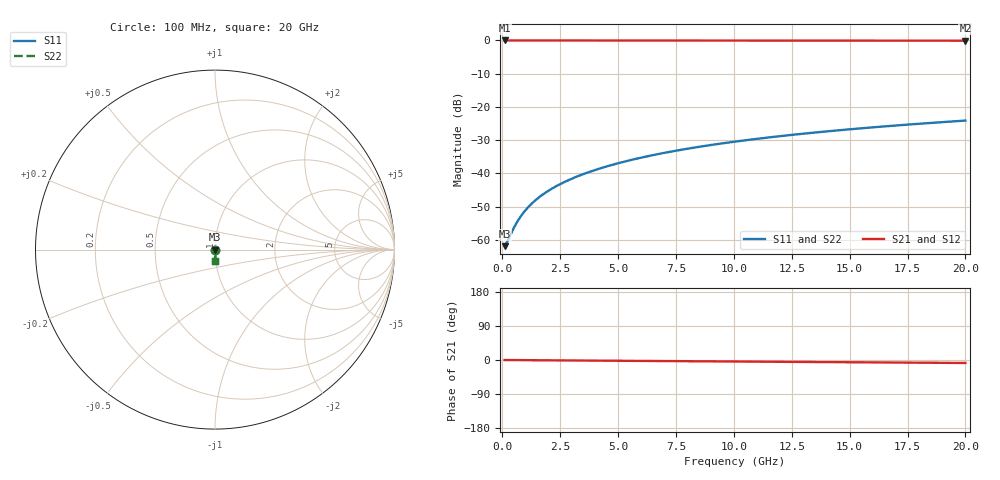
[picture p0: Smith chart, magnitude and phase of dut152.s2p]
! Touchstone file exported from HFSS 2026.1.0
!  File:  C:/ffzhzh/LocalFiles/Ansys_Project_Files/temp_train_BSMRDL_152_1782986616_6248.aedt
!  Generated:  06:04:40 PM Jul  2, 2026
!  Design:  BSMRDL
!  Project:  temp_train_BSMRDL_152_1782986616_6248
! Variables:
!  h_bsmrdl = 4.72um
!  h_ox = 20um
!  h_rdl = 5um
!  h_sub = 80um
!  h_tmrdl = 5um
!  h_tsv = 80um
!  h_via = 3um
!  l_bsmrdl = 118.7um
!  l_sub = 518.7um
!  l_tmrdl = 200um
!  m_sub = 200um
!  pitch = 15.16um
!  r_tsv = 6um
!  s_tmrdl = 10um
!  w_bsmrdl = 13.82um
!  w_sub = 500um
!  w_tmrdl = 12um
!  x_tsv_center1 = 206um
!  x_tsv_center2 = 338.52um
!  x_tsv_center3 = 550.52um
!  x_tsv_center4 = 683.04um
!  x_tsv_center5 = 895.04um
!  x_tsv_center6 = 1027.56um
# GHz S MA R 50.000000
! Terminal data exported
! Port[1] = BSM_RDL1_1_T1
! Port[2] = BSM_RDL1_1_T2
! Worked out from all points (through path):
!   200 points, 100 MHz to 20 GHz, reference 50 ohm
!   highest |S21| = -0.01 dB at 100 MHz (marker M1); lowest = -0.1 dB at 20 GHz (marker M2)
!   group delay of S21, straight-line fit = 1.08 ps
!   lowest |S11| = -61.8 dB at 100 MHz (marker M3), VSWR 1.00, Z = 50.1 - j0.0125 ohm
!   |S11| at or under -10 dB: start of sweep to end of sweep
!   |S22| runs from -61.8 to -24.1 dB; largest |S21 - S12| = 5.1e-15
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0.1  0.0008084 -8.9  0.9992 -0.1  0.9992 -0.1  0.0008084 -8.9
! Gamma 0 0 0 0
! Port Impedance 50 0 50 0
0.2  0.0009229 -17.9  0.9991 -0.1  0.9991 -0.1  0.0009229 -17.9
0.5  0.001525 -40.7  0.9988 -0.2  0.9988 -0.2  0.001525 -40.7
0.7  0.002018 -50.7  0.9987 -0.3  0.9987 -0.3  0.002018 -50.7
0.8  0.002275 -54.4  0.9987 -0.4  0.9987 -0.4  0.002275 -54.4
1  0.0028 -60.2  0.9986 -0.4  0.9986 -0.4  0.0028 -60.2
1.3  0.003605 -66.0  0.9985 -0.6  0.9985 -0.6  0.003605 -66.0
1.5  0.004148 -68.7  0.9984 -0.6  0.9984 -0.6  0.004148 -68.7
1.7  0.004697 -70.8  0.9984 -0.7  0.9984 -0.7  0.004697 -70.8
2.2  0.006084 -74.4  0.9982 -0.9  0.9982 -0.9  0.006084 -74.4
2.8  0.007778 -77.0  0.9981 -1.2  0.9981 -1.2  0.007778 -77.0
3.5  0.009796 -78.9  0.9978 -1.5  0.9978 -1.5  0.009796 -78.9
4.2  0.01186 -80.2  0.9976 -1.7  0.9976 -1.7  0.01186 -80.2
5  0.01426 -81.3  0.9972 -2.1  0.9972 -2.1  0.01426 -81.3
5.9  0.01701 -82.3  0.9969 -2.4  0.9969 -2.4  0.01701 -82.3
6.8  0.01981 -83.2  0.9965 -2.8  0.9965 -2.8  0.01981 -83.2
8.3  0.02454 -84.5  0.9959 -3.4  0.9959 -3.4  0.02454 -84.5
10.1  0.0303 -85.9  0.9952 -4.0  0.9952 -4.0  0.0303 -85.8
11.7  0.03546 -87.0  0.9946 -4.7  0.9946 -4.7  0.03546 -87.0
13.4  0.04097 -88.1  0.994 -5.3  0.994 -5.3  0.04097 -88.1
16.7  0.05168 -90.1  0.9928 -6.6  0.9928 -6.6  0.05168 -90.1
20  0.06241 -91.9  0.9915 -7.8  0.9915 -7.8  0.06241 -91.9
